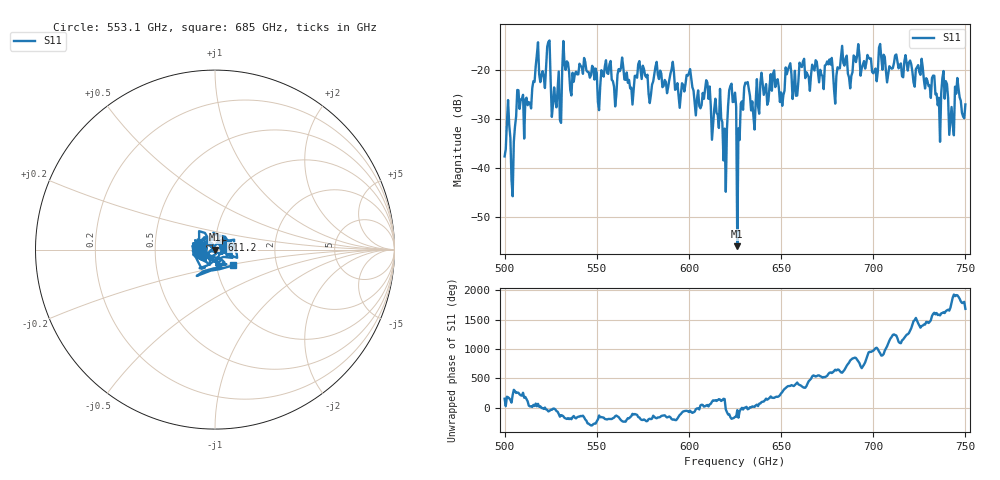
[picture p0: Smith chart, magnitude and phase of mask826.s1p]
!Created with skrf (http://scikit-rf.org).
# GHz S MA R 50.0
!freq magS11 angS11
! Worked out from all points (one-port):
!   401 points, 500 GHz to 750 GHz, reference 50 ohm
!   lowest |S11| = -56.0 dB at 626.2 GHz (marker M1), VSWR 1.00, Z = 50.1 - j0.106 ohm
!   |S11| at or under -10 dB: start of sweep to end of sweep
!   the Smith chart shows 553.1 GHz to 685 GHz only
!   S11 on the Smith chart (normalised r, x): 553.1 GHz: 0.84, -0.04; 611.2 GHz: 1.07, +0.12; 685 GHz: 1.20, -0.22
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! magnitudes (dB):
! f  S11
! 500 GHz  -37.6
! 501.9 GHz  -26.1
! 504.4 GHz  -45.8
! 507.5 GHz  -24.0
! 511.9 GHz  -25.6
! 517.5 GHz  -16.8
! 523.8 GHz  -14.1
! 526.9 GHz  -23.5
! 531.2 GHz  -20.0
! 553.1 GHz  -20.8
! 562.5 GHz  -20.1
! 593.8 GHz  -22.6
! 611.2 GHz  -23.3
! 619.4 GHz  -31.9
! 623.8 GHz  -26.5
! 625 GHz  -24.6
! 626.2 GHz  -56.0
! 631.2 GHz  -22.6
! 635 GHz  -29.4
! 656.2 GHz  -25.9
! 685 GHz  -17.5
! 687.5 GHz  -23.7
! 718.8 GHz  -20.0
! 735 GHz  -27.1
! 738.8 GHz  -25.8
! 742.5 GHz  -27.5
! 745.6 GHz  -21.5
! 750 GHz  -27.0
